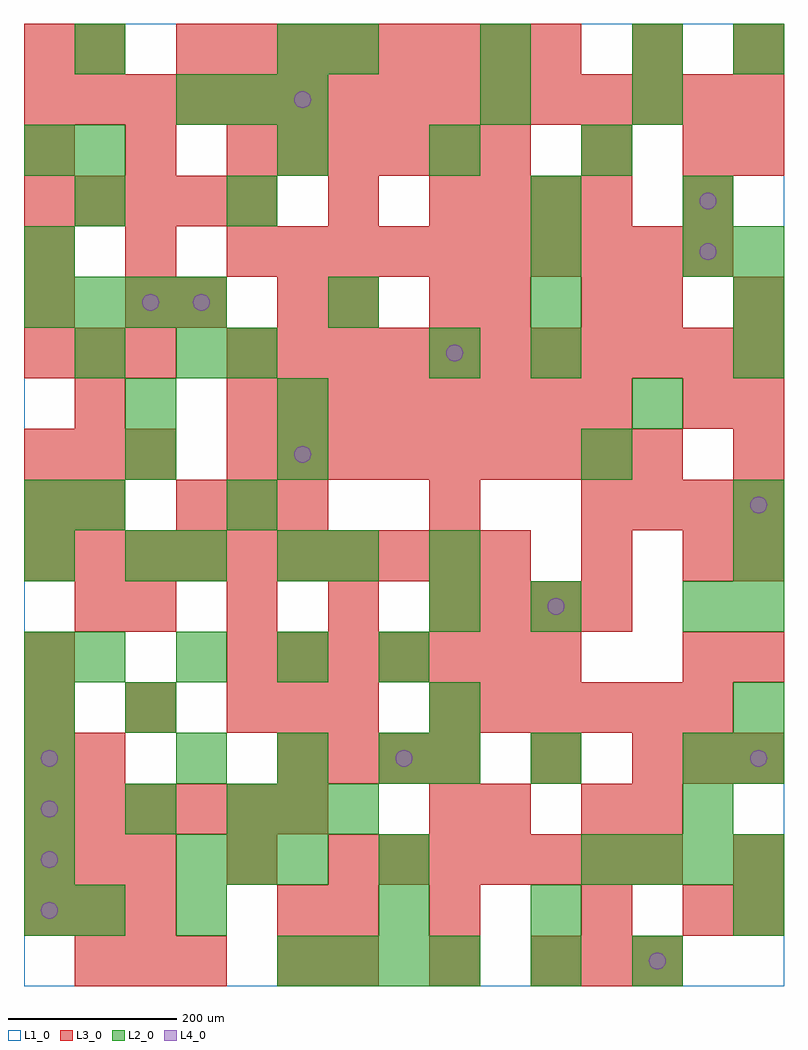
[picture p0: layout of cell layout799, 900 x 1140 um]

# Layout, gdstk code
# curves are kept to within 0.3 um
import gdstk
lib = gdstk.Library(unit=1e-6, precision=1e-09)
def R(c, l, rs):  # rectangles x0, y0, x1, y1
    for r in rs: c.add(gdstk.rectangle(r[:2], r[2:], *l))
def A(c, l, x, y, w, h, nx, ny, dx, dy):  # array of equal rectangles
    R(c, l, [(x+i*dx, y+j*dy, x+i*dx+w, y+j*dy+h) for i in range(nx) for j in range(ny)])
def P(c, l, *ps):  # polygons
    for p in ps: c.add(gdstk.Polygon(p, *l))
L1_0 = (1, 0)
L2_0 = (2, 0)
L3_0 = (3, 0)
L4_0 = (4, 0)

layout799 = lib.new_cell('layout799')
R(layout799, L1_0, [(0,0,900,1140)])
A(layout799, L2_0, 300, 0, 60, 60, 4, 1, 60, 0)
A(layout799, L2_0, 600, 60, 60, 60, 1, 3, 0, 180)
A(layout799, L2_0, 840, 60, 60, 60, 1, 3, 0, 180)
A(layout799, L2_0, 180, 120, 60, 60, 3, 2, 60, 900)
A(layout799, L2_0, 660, 120, 60, 60, 4, 1, 60, 0)
A(layout799, L2_0, 0, 180, 60, 60, 3, 1, 120, 0)
A(layout799, L2_0, 0, 240, 60, 60, 1, 3, 0, 60)
A(layout799, L2_0, 180, 240, 60, 60, 3, 1, 120, 0)
A(layout799, L2_0, 120, 300, 60, 60, 3, 1, 360, 0)
A(layout799, L2_0, 60, 360, 60, 60, 4, 1, 120, 0)
A(layout799, L2_0, 60, 540, 60, 60, 1, 3, 0, 180)
A(layout799, L2_0, 240, 540, 60, 60, 1, 3, 0, 180)
A(layout799, L2_0, 0, 780, 60, 60, 4, 1, 60, 0)
A(layout799, L2_0, 360, 780, 60, 60, 3, 1, 240, 0)
A(layout799, L2_0, 300, 960, 60, 60, 3, 1, 180, 0)
A(layout799, L2_0, 360, 1080, 60, 60, 3, 1, 180, 0)
R(layout799, L2_0, [(600,0,660,60), (720,0,780,60), (0,60,60,120), (60,60,120,120), (180,60,240,120), (420,60,480,120), (0,120,60,180), (420,120,480,180), (300,180,360,240), (360,180,420,240), (780,180,840,240), (480,240,540,300), (780,240,840,300), (480,420,540,480), (780,420,840,480), (0,480,60,540), (120,480,180,540), (180,480,240,540), (300,480,360,540), (360,480,420,540), (480,480,540,540), (840,480,900,540), (0,540,60,600), (840,540,900,600), (120,600,180,660), (300,600,360,660), (660,600,720,660), (120,660,180,720), (300,660,360,720), (720,660,780,720), (180,720,240,780), (480,720,540,780), (600,720,660,780), (840,720,900,780), (0,840,60,900), (600,840,660,900), (780,840,840,900), (840,840,900,900), (600,900,660,960), (780,900,840,960), (0,960,60,1020), (60,960,120,1020), (540,1020,600,1080), (720,1020,780,1080), (60,1080,120,1140), (300,1080,360,1140), (840,1080,900,1140)])
A(layout799, L3_0, 60, 0, 60, 60, 3, 1, 60, 0)
A(layout799, L3_0, 360, 0, 60, 60, 3, 1, 120, 0)
A(layout799, L3_0, 0, 60, 60, 60, 3, 2, 60, 60)
A(layout799, L3_0, 360, 120, 60, 60, 7, 1, 60, 0)
A(layout799, L3_0, 0, 180, 60, 60, 6, 1, 60, 0)
A(layout799, L3_0, 660, 180, 60, 60, 1, 3, 0, 300)
A(layout799, L3_0, 300, 240, 60, 60, 4, 1, 60, 0)
A(layout799, L3_0, 720, 240, 60, 60, 3, 1, 60, 0)
A(layout799, L3_0, 0, 300, 60, 60, 3, 2, 120, 540)
A(layout799, L3_0, 480, 300, 60, 60, 6, 1, 60, 0)
A(layout799, L3_0, 240, 360, 60, 60, 7, 1, 60, 0)
A(layout799, L3_0, 840, 360, 60, 60, 1, 3, 0, 120)
A(layout799, L3_0, 60, 420, 60, 60, 1, 3, 0, 120)
A(layout799, L3_0, 120, 420, 60, 60, 4, 1, 120, 0)
A(layout799, L3_0, 540, 420, 60, 60, 3, 1, 60, 0)
A(layout799, L3_0, 0, 480, 60, 60, 10, 1, 60, 0)
A(layout799, L3_0, 180, 540, 60, 60, 3, 1, 60, 0)
A(layout799, L3_0, 660, 540, 60, 60, 4, 1, 60, 0)
A(layout799, L3_0, 0, 600, 60, 60, 3, 2, 60, 120)
A(layout799, L3_0, 240, 600, 60, 60, 9, 1, 60, 0)
A(layout799, L3_0, 240, 660, 60, 60, 8, 1, 60, 0)
A(layout799, L3_0, 240, 720, 60, 60, 11, 1, 60, 0)
A(layout799, L3_0, 300, 840, 60, 60, 9, 1, 60, 0)
A(layout799, L3_0, 0, 900, 60, 60, 5, 1, 60, 0)
A(layout799, L3_0, 480, 900, 60, 60, 4, 1, 60, 0)
A(layout799, L3_0, 0, 960, 60, 60, 3, 1, 120, 0)
A(layout799, L3_0, 300, 960, 60, 60, 5, 1, 60, 0)
A(layout799, L3_0, 0, 1020, 60, 60, 15, 1, 60, 0)
A(layout799, L3_0, 180, 1080, 60, 60, 8, 1, 60, 0)
R(layout799, L3_0, [(300,0,360,60), (660,0,720,60), (720,0,780,60), (300,60,360,120), (360,60,420,120), (480,60,540,120), (660,60,720,120), (780,60,840,120), (840,60,900,120), (240,120,300,180), (840,120,900,180), (480,180,540,240), (540,180,600,240), (720,180,780,240), (0,240,60,300), (60,240,120,300), (600,240,660,300), (300,300,360,360), (360,300,420,360), (0,360,60,420), (780,360,840,420), (780,480,840,540), (0,540,60,600), (480,540,540,600), (780,660,840,720), (840,660,900,720), (0,780,60,840), (120,780,180,840), (180,780,240,840), (300,780,360,840), (360,780,420,840), (480,780,540,840), (540,780,600,840), (720,780,780,840), (840,780,900,840), (360,900,420,960), (780,900,840,960), (660,960,720,1020), (780,960,840,1020), (840,960,900,1020), (0,1080,60,1140), (60,1080,120,1140), (720,1080,780,1140), (840,1080,900,1140)])
P(layout799, L4_0, [(40,90),(39.239,93.827),(37.071,97.071),(33.827,99.239),(30,100),(26.173,99.239),(22.929,97.071),(20.761,93.827),(20,90),(20.761,86.173),(22.929,82.929),(26.173,80.761),(30,80),(33.827,80.761),(37.071,82.929),(39.239,86.173)],
  [(40,150),(39.239,153.827),(37.071,157.071),(33.827,159.239),(30,160),(26.173,159.239),(22.929,157.071),(20.761,153.827),(20,150),(20.761,146.173),(22.929,142.929),(26.173,140.761),(30,140),(33.827,140.761),(37.071,142.929),(39.239,146.173)],
  [(40,210),(39.239,213.827),(37.071,217.071),(33.827,219.239),(30,220),(26.173,219.239),(22.929,217.071),(20.761,213.827),(20,210),(20.761,206.173),(22.929,202.929),(26.173,200.761),(30,200),(33.827,200.761),(37.071,202.929),(39.239,206.173)],
  [(40,270),(39.239,273.827),(37.071,277.071),(33.827,279.239),(30,280),(26.173,279.239),(22.929,277.071),(20.761,273.827),(20,270),(20.761,266.173),(22.929,262.929),(26.173,260.761),(30,260),(33.827,260.761),(37.071,262.929),(39.239,266.173)],
  [(160,810),(159.239,813.827),(157.071,817.071),(153.827,819.239),(150,820),(146.173,819.239),(142.929,817.071),(140.761,813.827),(140,810),(140.761,806.173),(142.929,802.929),(146.173,800.761),(150,800),(153.827,800.761),(157.071,802.929),(159.239,806.173)],
  [(220,810),(219.239,813.827),(217.071,817.071),(213.827,819.239),(210,820),(206.173,819.239),(202.929,817.071),(200.761,813.827),(200,810),(200.761,806.173),(202.929,802.929),(206.173,800.761),(210,800),(213.827,800.761),(217.071,802.929),(219.239,806.173)],
  [(340,630),(339.239,633.827),(337.071,637.071),(333.827,639.239),(330,640),(326.173,639.239),(322.929,637.071),(320.761,633.827),(320,630),(320.761,626.173),(322.929,622.929),(326.173,620.761),(330,620),(333.827,620.761),(337.071,622.929),(339.239,626.173)],
  [(340,1050),(339.239,1053.827),(337.071,1057.071),(333.827,1059.239),(330,1060),(326.173,1059.239),(322.929,1057.071),(320.761,1053.827),(320,1050),(320.761,1046.173),(322.929,1042.929),(326.173,1040.761),(330,1040),(333.827,1040.761),(337.071,1042.929),(339.239,1046.173)],
  [(460,270),(459.239,273.827),(457.071,277.071),(453.827,279.239),(450,280),(446.173,279.239),(442.929,277.071),(440.761,273.827),(440,270),(440.761,266.173),(442.929,262.929),(446.173,260.761),(450,260),(453.827,260.761),(457.071,262.929),(459.239,266.173)],
  [(520,750),(519.239,753.827),(517.071,757.071),(513.827,759.239),(510,760),(506.173,759.239),(502.929,757.071),(500.761,753.827),(500,750),(500.761,746.173),(502.929,742.929),(506.173,740.761),(510,740),(513.827,740.761),(517.071,742.929),(519.239,746.173)],
  [(640,450),(639.239,453.827),(637.071,457.071),(633.827,459.239),(630,460),(626.173,459.239),(622.929,457.071),(620.761,453.827),(620,450),(620.761,446.173),(622.929,442.929),(626.173,440.761),(630,440),(633.827,440.761),(637.071,442.929),(639.239,446.173)],
  [(760,30),(759.239,33.827),(757.071,37.071),(753.827,39.239),(750,40),(746.173,39.239),(742.929,37.071),(740.761,33.827),(740,30),(740.761,26.173),(742.929,22.929),(746.173,20.761),(750,20),(753.827,20.761),(757.071,22.929),(759.239,26.173)],
  [(820,870),(819.239,873.827),(817.071,877.071),(813.827,879.239),(810,880),(806.173,879.239),(802.929,877.071),(800.761,873.827),(800,870),(800.761,866.173),(802.929,862.929),(806.173,860.761),(810,860),(813.827,860.761),(817.071,862.929),(819.239,866.173)],
  [(820,930),(819.239,933.827),(817.071,937.071),(813.827,939.239),(810,940),(806.173,939.239),(802.929,937.071),(800.761,933.827),(800,930),(800.761,926.173),(802.929,922.929),(806.173,920.761),(810,920),(813.827,920.761),(817.071,922.929),(819.239,926.173)],
  [(880,270),(879.239,273.827),(877.071,277.071),(873.827,279.239),(870,280),(866.173,279.239),(862.929,277.071),(860.761,273.827),(860,270),(860.761,266.173),(862.929,262.929),(866.173,260.761),(870,260),(873.827,260.761),(877.071,262.929),(879.239,266.173)],
  [(880,570),(879.239,573.827),(877.071,577.071),(873.827,579.239),(870,580),(866.173,579.239),(862.929,577.071),(860.761,573.827),(860,570),(860.761,566.173),(862.929,562.929),(866.173,560.761),(870,560),(873.827,560.761),(877.071,562.929),(879.239,566.173)])

lib.write_gds('layout799.gds')
